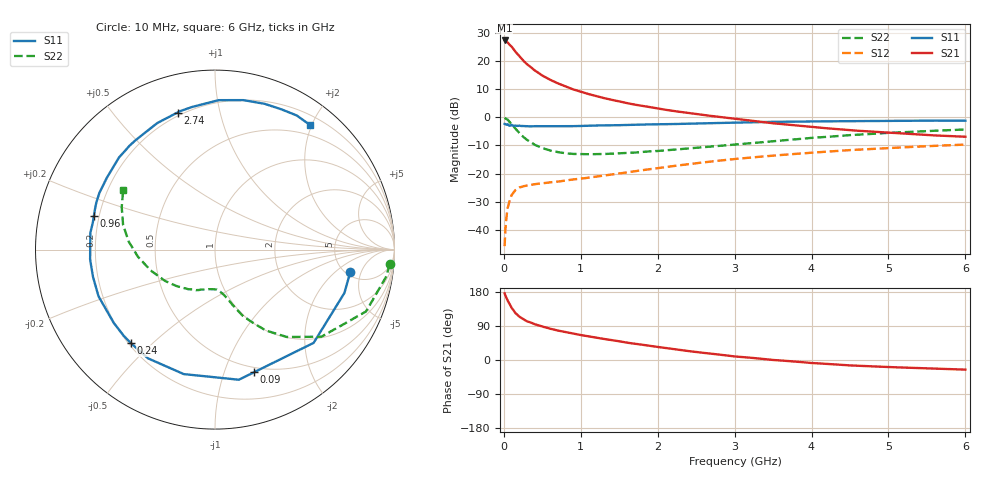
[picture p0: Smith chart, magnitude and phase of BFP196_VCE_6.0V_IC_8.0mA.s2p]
! Infineon Technologies  Discrete & RF Semiconductors
! BFP196
! VCE = 6.0 V,  IC = 8.0mA
! Common Emitter S-Parameters:  Jan 2016
# GHz  S  MA  R  50
!  f  S11  S21  S12  S22
! GHz  MAG  ANG  MAG  ANG  MAG  ANG  MAG  ANG
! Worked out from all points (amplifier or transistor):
!   210 points, 10 MHz to 6 GHz, reference 50 ohm
!   highest |S21| = 27.4 dB at 10 MHz (marker M1)
!   |S21| within 3 dB of that: start of sweep to 122.8 MHz
!   unconditionally stable (mu >= 1): 962.7 MHz to 3.35 GHz
!   at 185 MHz: K = 0.26, MSG = 23.8 dB, |S12| = -25.3 dB
!   at 1.52 GHz: K = 1.15, MAG = 10.4 dB, |S12| = -19.9 dB
!   at 6 GHz: K = 0.97, MSG = 1.4 dB, |S12| = -9.7 dB
!   S11 on the Smith chart (normalised r, x): 10 MHz: 5.46, -3.27; 90 MHz: 0.45, -1.27; 240 MHz: 0.21, -0.43; 960 MHz: 0.18, +0.13; 2.74 GHz: 0.18, +0.75; 6 GHz: 0.34, +1.97
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0.01  0.764 -9.4  23.36 175.9  0.0051 88.6  0.9781 -4.8
0.02  0.7605 -18.5  22.82 169.8  0.01 81.9  0.9642 -9.2
0.05  0.7563 -43.4  21.47 156.3  0.0245 68.3  0.9092 -22.3
0.09  0.7173 -72.4  18.69 141.8  0.0377 55.6  0.7887 -35.4
0.1  0.7371 -79.6  18.21 137.6  0.0412 53.7  0.7663 -39.3
0.15  0.7151 -104.1  14.79 123.8  0.0507 43.7  0.6301 -50.6
0.2  0.7116 -121.6  12.29 114.6  0.0563 37.9  0.5298 -58.0
0.24  0.7009 -132.1  10.67 109.1  0.0587 34.9  0.4671 -62.0
0.26  0.6994 -136.7  9.989 106.5  0.0597 33.8  0.4411 -63.9
0.3  0.6964 -144.2  8.852 102.2  0.0611 32.1  0.3989 -67.3
0.4  0.6991 -158.2  6.865 94.5  0.0646 30.1  0.3258 -72.2
0.5  0.6965 -167.4  5.544 88.2  0.0671 29.6  0.2834 -75.6
0.7  0.6958 177.8  4.041 77.8  0.0718 31.8  0.2406 -81.9
0.96  0.7006 164.5  2.968 67.6  0.0799 34.6  0.2225 -88.2
1.02  0.7052 161.6  2.798 65.2  0.0816 35.4  0.2216 -89.8
1.4  0.7235 146.3  2.048 52.4  0.0958 39.2  0.2263 -100.5
2.02  0.7532 126.0  1.423 33.9  0.1261 41.4  0.2533 -119.0
2.74  0.7914 105.3  1.042 15.6  0.1662 38.7  0.3051 -140.5
3.1  0.8085 96.9  0.908 7.8  0.1867 35.5  0.3369 -151.2
4.1  0.8482 77.7  0.657 -9.0  0.24 25.7  0.4401 -177.0
5.1  0.8659 63.5  0.523 -19.3  0.2889 14.2  0.537 163.0
6  0.8729 52.8  0.452 -25.4  0.3279 3.2  0.6087 147.2
